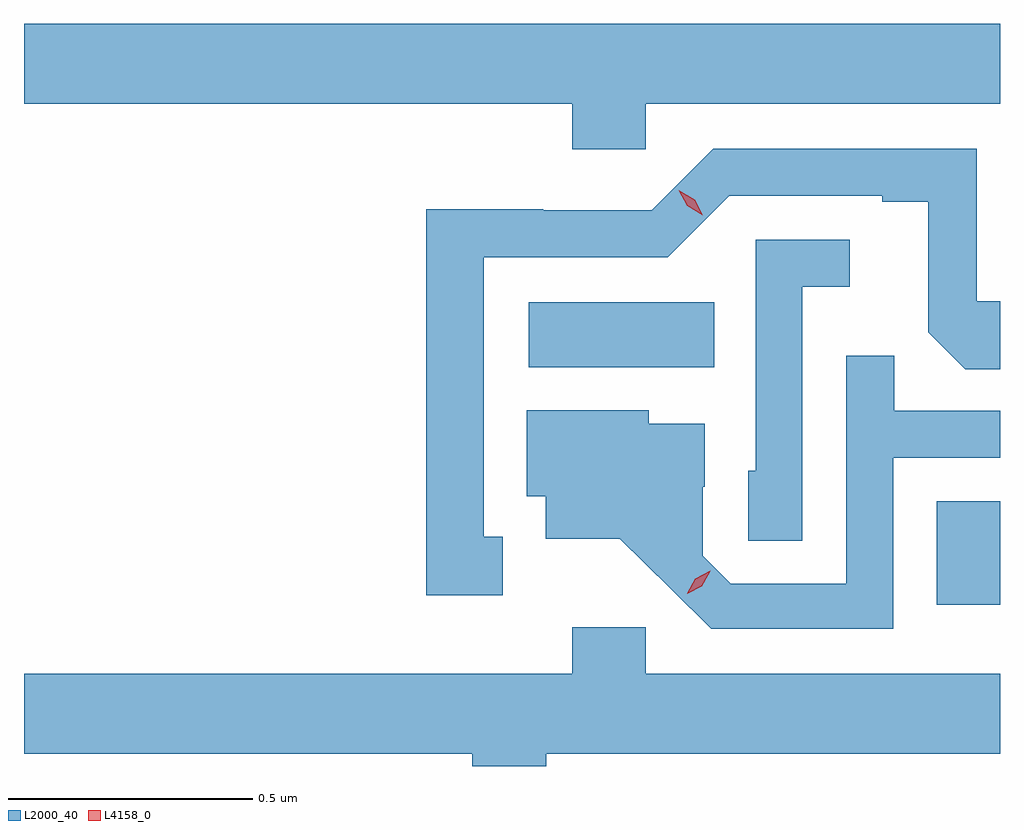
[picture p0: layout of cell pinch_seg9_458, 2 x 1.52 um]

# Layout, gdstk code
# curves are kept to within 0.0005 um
import gdstk
lib = gdstk.Library(unit=1e-6, precision=1e-09)
def R(c, l, rs):  # rectangles x0, y0, x1, y1
    for r in rs: c.add(gdstk.rectangle(r[:2], r[2:], *l))
def P(c, l, *ps):  # polygons
    for p in ps: c.add(gdstk.Polygon(p, *l))
L2000_40 = (2000, 40)
L4158_0 = (4158, 0)

pinch_seg9_458 = lib.new_cell('pinch_seg9_458')
R(pinch_seg9_458, L2000_40, [(239.888,1223.366,240.018,1223.578), (239.052,1223.852,239.432,1223.986)])
P(pinch_seg9_458, L2000_40, [(239.292,1224.392),(240.018,1224.392),(240.018,1224.556),(238.018,1224.556),(238.018,1224.392),(239.141,1224.392),(239.141,1224.299),(239.292,1224.299)],
  [(238.999,1223.505),(238.96,1223.505),(238.96,1224.078),(239.337,1224.078),(239.463,1224.204),(239.777,1224.204),(239.777,1224.192),(239.871,1224.192),(239.871,1223.924),(239.947,1223.848),(240.018,1223.848),(240.018,1223.988),(239.97,1223.988),(239.97,1224.3),(239.43,1224.3),(239.304,1224.174),(239.082,1224.174),(239.082,1224.176),(238.842,1224.176),(238.842,1223.385),(238.999,1223.385)],
  [(239.613,1224.017),(239.71,1224.017),(239.71,1224.114),(239.517,1224.114),(239.517,1223.64),(239.502,1223.64),(239.502,1223.497),(239.613,1223.497)],
  [(239.799,1223.667),(240.018,1223.667),(240.018,1223.763),(239.801,1223.763),(239.801,1223.876),(239.703,1223.876),(239.703,1223.409),(239.466,1223.409),(239.409,1223.466),(239.409,1223.608),(239.413,1223.608),(239.413,1223.737),(239.298,1223.737),(239.298,1223.764),(239.048,1223.764),(239.048,1223.588),(239.087,1223.588),(239.087,1223.501),(239.239,1223.501),(239.426,1223.316),(239.799,1223.316)],
  [(239.088,1223.06),(240.018,1223.06),(240.018,1223.224),(239.292,1223.224),(239.292,1223.32),(239.141,1223.32),(239.141,1223.224),(238.018,1223.224),(238.018,1223.06),(238.937,1223.06),(238.937,1223.035),(239.088,1223.035)])
P(pinch_seg9_458, L4158_0, [(239.377,1223.388),(239.377,1223.389),(239.394,1223.419),(239.424,1223.435),(239.424,1223.435),(239.424,1223.434),(239.407,1223.404),(239.377,1223.388)],
  [(239.409,1224.164),(239.377,1224.183),(239.36,1224.215),(239.36,1224.215),(239.36,1224.215),(239.392,1224.196),(239.409,1224.164),(239.409,1224.164)])

lib.write_gds('pinch_seg9_458.gds')
